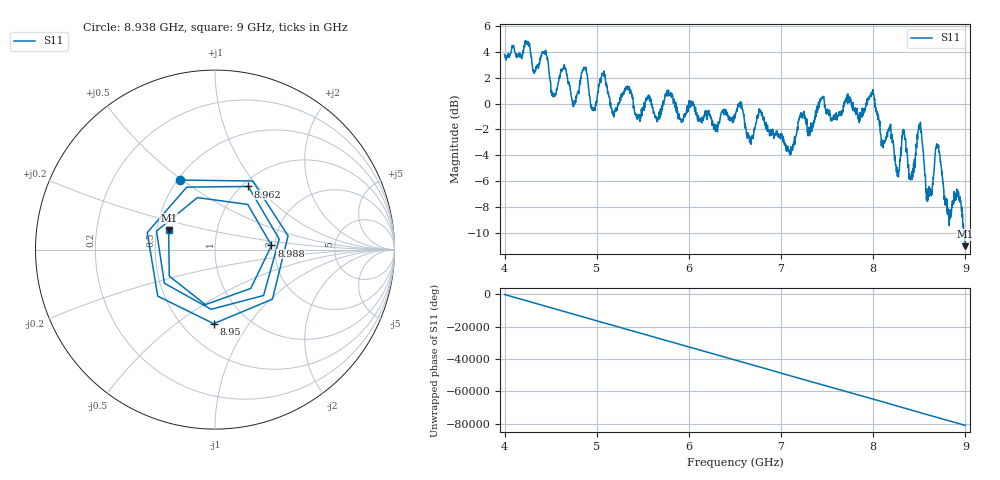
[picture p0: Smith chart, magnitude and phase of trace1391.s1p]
! Created with skrf 1.8.0 (http://scikit-rf.org).
# Hz S RI R 50.0
!freq ReS11 ImS11
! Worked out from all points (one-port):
!   1601 points, 4 GHz to 9 GHz, reference 50 ohm
!   lowest |S11| = -11.1 dB at 9 GHz (marker M1), VSWR 1.78, Z = 28.9 + j6.82 ohm
!   |S11| at or under -10 dB: 8.980106 GHz to end of sweep
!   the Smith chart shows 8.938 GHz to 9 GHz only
!   S11 on the Smith chart (normalised r, x): 8.938 GHz: 0.52, +0.49; 8.95 GHz: 0.70, -0.70; 8.962 GHz: 1.07, +0.89; 8.988 GHz: 1.92, +0.10; 9 GHz: 0.58, +0.14
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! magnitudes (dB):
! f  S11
! 4 GHz  3.8
! 4.434 GHz  4.0
! 4.531 GHz  0.8
! 4.625 GHz  2.6
! 4.747 GHz  -0.3
! 4.862 GHz  2.8
! 4.956 GHz  -0.5
! 5.066 GHz  2.3
! 5.25 GHz  0.5
! 5.875 GHz  -0.6
! 6.5 GHz  -1.1
! 7.125 GHz  -3.6
! 7.225 GHz  -0.8
! 7.75 GHz  0.5
! 7.991 GHz  0.7
! 8.259 GHz  -5.4
! 8.331 GHz  -2.4
! 8.375 GHz  -4.8
! 8.419 GHz  -5.3
! 8.503 GHz  -1.8
! 8.594 GHz  -7.4
! 8.697 GHz  -3.4
! 8.816 GHz  -8.2
! 8.938 GHz  -7.3
! 8.95 GHz  -7.7
! 8.962 GHz  -8.0
! 8.988 GHz  -10.0
! 9 GHz  -11.1
